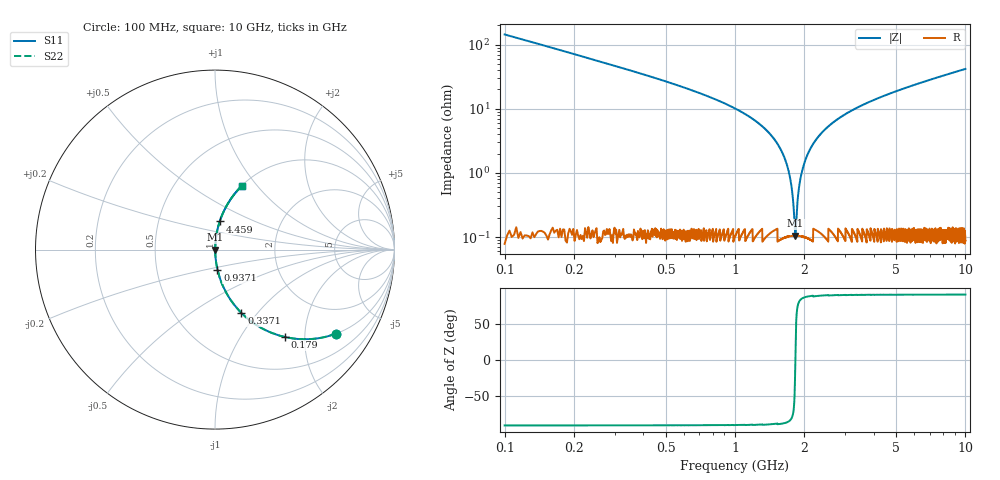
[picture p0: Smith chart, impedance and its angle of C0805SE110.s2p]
! AVX Thin Film Operation		Date: April 2012
! Description: Accu-P® Series, Thin Film, SMD, RF Capacitor
! Part Number: 08051K110FBTTR
!	100	MHz	-	10.05	GHz
!	Serial	Measurements
#	MHZ	S	MA	R	50
!	S11	S21	S12	S22
!	dB	Phase	dB	Phase	dB	Phase	dB	Phase
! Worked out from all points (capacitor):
!   4010 points, 100 MHz to 10 GHz, reference 50 ohm
!   read as one part in series: C = 11 pF near 149.4 MHz
!   lowest |Z| = 105 mohm at 1.829 GHz (marker M1)
!   series resonance near 1.827 GHz, so ESL is about 690 pH
!   S11 on the Smith chart (normalised r, x): 100 MHz: 1.00, -2.89; 179 MHz: 1.00, -1.60; 337.1 MHz: 1.00, -0.83; 937.1 MHz: 1.00, -0.23; 4.459 GHz: 1.00, +0.32; 10 GHz: 1.00, +0.84
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100  0.822 -34.7  0.57 55.2  0.57 55.2  0.822 -34.7
179.022  0.624 -51.3  0.78 38.6  0.78 38.6  0.624 -51.3
337.067  0.383 -67.3  0.923 22.5  0.923 22.5  0.383 -67.3
937.141  0.113 -83.0  0.993 6.5  0.993 6.5  0.113 -83.0
1282.864  0.057 -85.6  0.997 3.3  0.997 3.3  0.057 -85.6
1514.991  0.03 -86.2  0.998 1.7  0.998 1.7  0.03 -86.2
1660.688  0.015 -85.0  0.999 0.9  0.999 0.9  0.015 -85.0
1752.058  0.00676 -80.3  0.999 0.4  0.999 0.4  0.00676 -80.3
1796.508  0.00292 -67.7  0.999 0.2  0.999 0.2  0.00292 -67.7
1828.611  0.0011 5.0  0.999 -0.0  0.999 -0.0  0.0011 5.0
1855.775  0.00267 65.5  0.999 -0.1  0.999 -0.1  0.00267 65.5
1910.102  0.00708 80.7  0.999 -0.4  0.999 -0.4  0.00708 80.7
1971.838  0.012 84.1  0.999 -0.7  0.999 -0.7  0.012 84.1
2065.677  0.019 85.6  0.999 -1.1  0.999 -1.1  0.019 85.6
2208.905  0.03 86.2  0.998 -1.7  0.998 -1.7  0.03 86.2
2660.813  0.061 85.5  0.997 -3.5  0.997 -3.5  0.061 85.5
3401.646  0.104 83.4  0.993 -6.0  0.993 -6.0  0.104 83.4
4458.568  0.159 80.5  0.986 -9.1  0.986 -9.1  0.159 80.5
5051.235  0.187 78.9  0.981 -10.8  0.981 -10.8  0.187 78.9
6700.823  0.259 74.7  0.965 -15.0  0.965 -15.0  0.259 74.7
8350.412  0.325 70.8  0.945 -19.0  0.945 -19.0  0.325 70.8
10000  0.386 67.2  0.922 -22.7  0.922 -22.7  0.386 67.2
